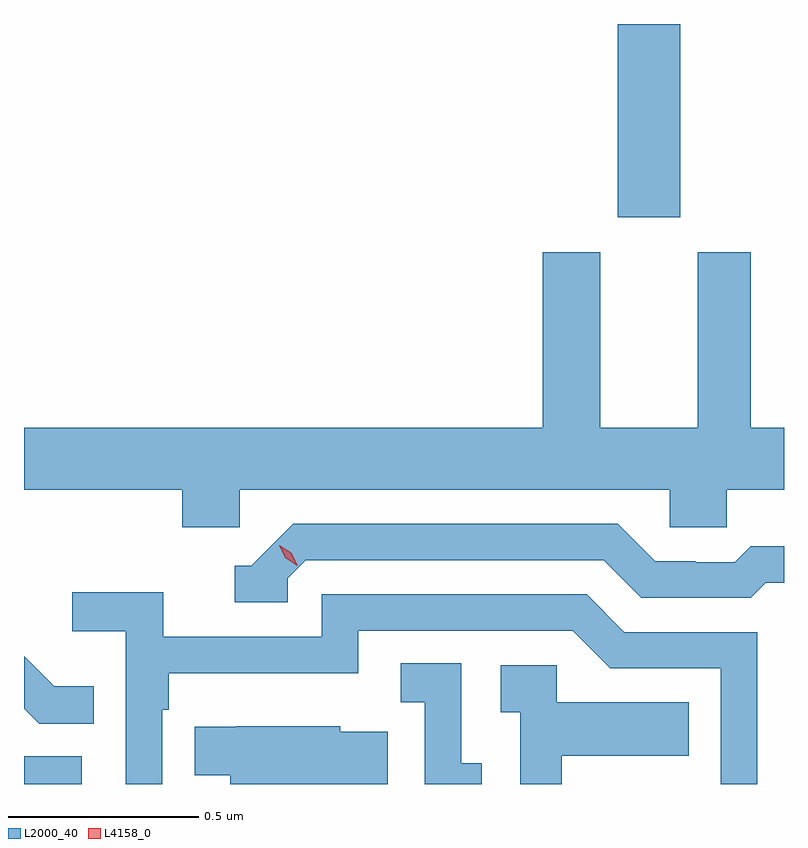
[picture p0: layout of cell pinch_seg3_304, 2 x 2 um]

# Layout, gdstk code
import gdstk
lib = gdstk.Library(unit=1e-6, precision=1e-09)
def R(c, l, rs):  # rectangles x0, y0, x1, y1
    for r in rs: c.add(gdstk.rectangle(r[:2], r[2:], *l))
def P(c, l, *ps):  # polygons
    for p in ps: c.add(gdstk.Polygon(p, *l))
L2000_40 = (2000, 40)
L4158_0 = (4158, 0)

pinch_seg3_304 = lib.new_cell('pinch_seg3_304')
R(pinch_seg3_304, L2000_40, [(954.098,708.134,954.25,708.207), (955.661,709.626,955.825,710.134)])
P(pinch_seg3_304, L2000_40, [(954.666,708.908),(955.797,708.908),(955.797,708.81),(955.947,708.81),(955.947,708.908),(956.098,708.908),(956.098,709.072),(956.011,709.072),(956.011,709.534),(955.871,709.534),(955.871,709.072),(955.615,709.072),(955.615,709.534),(955.463,709.534),(955.463,709.072),(954.098,709.072),(954.098,708.908),(954.515,708.908),(954.515,708.81),(954.666,708.81)],
  [(954.792,708.675),(954.84,708.723),(955.623,708.723),(955.722,708.624),(956.011,708.624),(956.05,708.663),(956.098,708.663),(956.098,708.76),(956.011,708.76),(955.969,708.717),(955.866,708.717),(955.866,708.72),(955.759,708.72),(955.66,708.819),(954.807,708.819),(954.696,708.708),(954.653,708.708),(954.653,708.612),(954.792,708.612)],
  [(954.462,708.329),(954.479,708.329),(954.479,708.425),(954.978,708.425),(954.978,708.537),(955.542,708.537),(955.641,708.438),(955.932,708.438),(955.932,708.134),(956.028,708.134),(956.028,708.534),(955.678,708.534),(955.579,708.633),(954.882,708.633),(954.882,708.522),(954.464,708.522),(954.464,708.638),(954.225,708.638),(954.225,708.536),(954.366,708.536),(954.366,708.134),(954.462,708.134)],
  [(954.281,708.391),(954.177,708.391),(954.098,708.47),(954.098,708.332),(954.138,708.292),(954.281,708.292)],
  [(955.303,708.189),(955.248,708.189),(955.248,708.452),(955.089,708.452),(955.089,708.349),(955.152,708.349),(955.152,708.134),(955.303,708.134)],
  [(955.513,708.209),(955.847,708.209),(955.847,708.349),(955.5,708.349),(955.5,708.447),(955.353,708.447),(955.353,708.323),(955.404,708.323),(955.404,708.134),(955.513,708.134)],
  [(955.055,708.271),(954.93,708.271),(954.93,708.286),(954.658,708.286),(954.658,708.285),(954.547,708.285),(954.547,708.157),(954.641,708.157),(954.641,708.134),(955.055,708.134)])
P(pinch_seg3_304, L4158_0, [(954.816,708.71),(954.786,708.729),(954.77,708.762),(954.77,708.762),(954.77,708.762),(954.801,708.742),(954.817,708.71),(954.817,708.71)])

lib.write_gds('pinch_seg3_304.gds')
